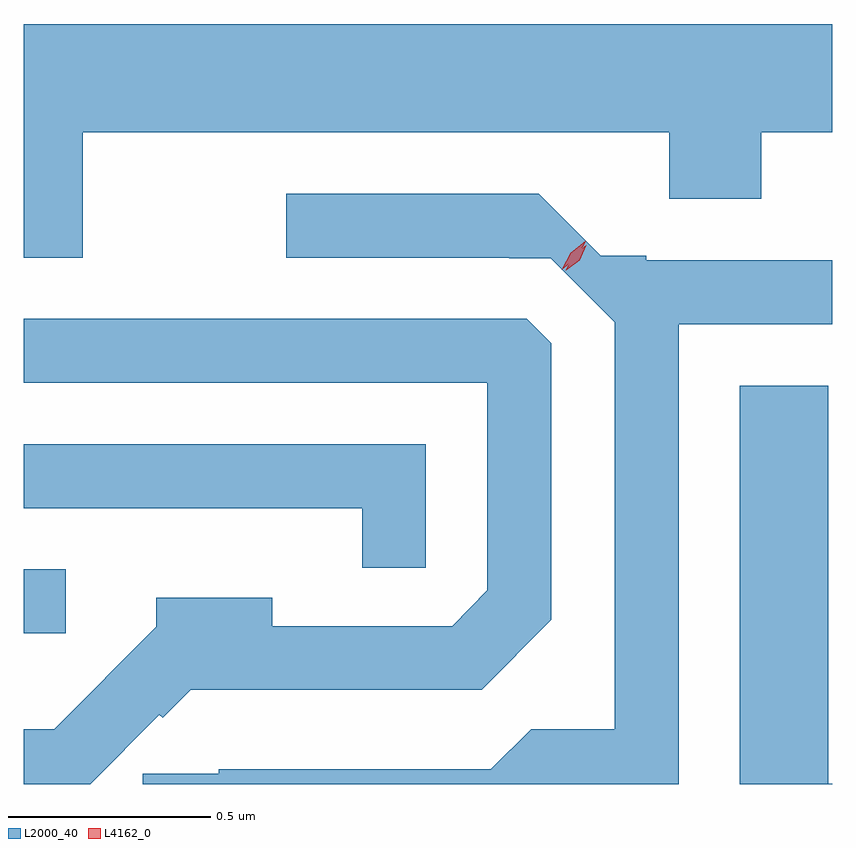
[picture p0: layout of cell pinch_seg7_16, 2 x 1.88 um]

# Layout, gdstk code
import gdstk
lib = gdstk.Library(unit=1e-6, precision=1e-09)
def R(c, l, rs):  # rectangles x0, y0, x1, y1
    for r in rs: c.add(gdstk.rectangle(r[:2], r[2:], *l))
def P(c, l, *ps):  # polygons
    for p in ps: c.add(gdstk.Polygon(p, *l))
L2000_40 = (2000, 40)
L4162_0 = (4162, 0)

pinch_seg7_16 = lib.new_cell('pinch_seg7_16')
R(pinch_seg7_16, L2000_40, [(1035.714,1761.916,1035.818,1762.074)])
P(pinch_seg7_16, L2000_40, [(1035.859,1763.156),(1037.311,1763.156),(1037.311,1762.991),(1037.539,1762.991),(1037.539,1763.156),(1037.714,1763.156),(1037.714,1763.424),(1035.714,1763.424),(1035.714,1762.846),(1035.859,1762.846)],
  [(1037.334,1762.681),(1037.714,1762.681),(1037.714,1762.839),(1037.254,1762.839),(1037.254,1762.85),(1037.142,1762.85),(1036.988,1763.004),(1036.363,1763.004),(1036.363,1762.846),(1036.915,1762.846),(1036.915,1762.844),(1037.018,1762.844),(1037.176,1762.686),(1037.176,1761.679),(1036.969,1761.679),(1036.869,1761.579),(1036.196,1761.579),(1036.196,1761.568),(1036.008,1761.568),(1036.008,1761.543),(1037.334,1761.543)],
  [(1036.049,1761.715),(1036.057,1761.707),(1036.127,1761.776),(1036.847,1761.776),(1037.019,1761.949),(1037.019,1762.634),(1036.959,1762.694),(1035.714,1762.694),(1035.714,1762.536),(1036.861,1762.536),(1036.861,1762.022),(1036.774,1761.934),(1036.329,1761.934),(1036.329,1762.004),(1036.041,1762.004),(1036.041,1761.932),(1035.789,1761.679),(1035.714,1761.679),(1035.714,1761.543),(1035.878,1761.543)],
  [(1037.714,1761.544),(1037.704,1761.544),(1037.704,1762.529),(1037.486,1762.529),(1037.486,1761.543),(1037.714,1761.543)],
  [(1036.709,1762.384),(1035.714,1762.384),(1035.714,1762.226),(1036.551,1762.226),(1036.551,1762.078),(1036.709,1762.078)])
P(pinch_seg7_16, L4162_0, [(1037.055,1762.814),(1037.055,1762.815),(1037.073,1762.852),(1037.106,1762.877),(1037.106,1762.877),(1037.106,1762.877),(1037.089,1762.839),(1037.056,1762.814)],
  [(1037.045,1762.816),(1037.045,1762.816),(1037.067,1762.858),(1037.104,1762.887),(1037.105,1762.887),(1037.105,1762.886),(1037.082,1762.845),(1037.045,1762.816)])

lib.write_gds('pinch_seg7_16.gds')
